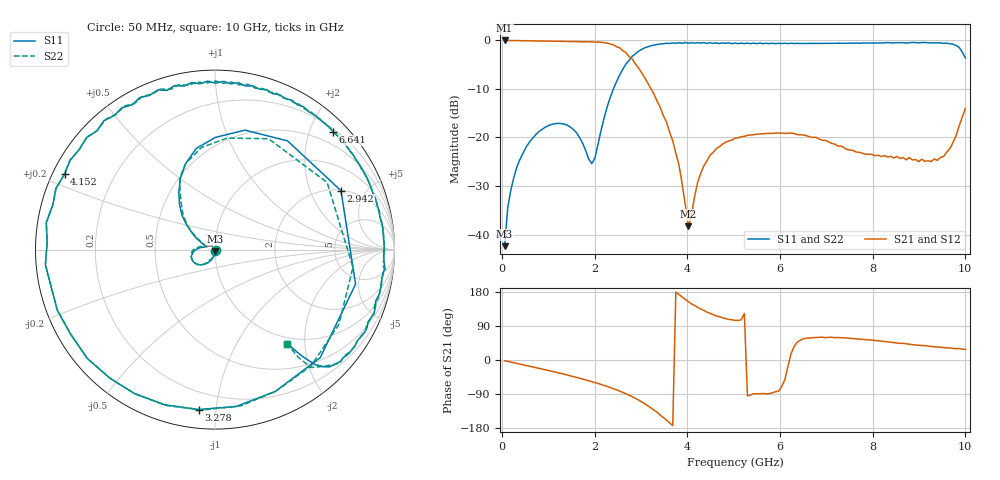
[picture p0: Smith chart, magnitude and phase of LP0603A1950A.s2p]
!	AVX THIN FILM OPERATION
!	LP0603 LOW PASS FILTERS
!	P/N LP0603A1950ALTR
!	Network	Analyzer	HP8720ES.07.64:	Feb	"23,"	2000	Serial	No.	US39172382
!	Hewlett-Packard
!	2	Feb	2004	02:33:11
!	Frequency	S11	S21	S12	S22
#	HZ	S	DB	R	50
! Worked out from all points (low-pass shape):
!   149 points, 50 MHz to 10 GHz, reference 50 ohm
!   highest |S21| = 0.00 dB at 50 MHz (marker M1); lowest = -38.3 dB at 4.018 GHz (marker M2)
!   |S21| within 3 dB of the highest: start of sweep to 2.712 GHz
!   lowest |S11| = -42.4 dB at 50 MHz (marker M3), VSWR 1.02, Z = 50.1 - j0.752 ohm
!   |S11| at or under -10 dB: start of sweep to 2.4 GHz
!   |S22| runs from -42.4 to -0.4 dB; largest |S21 - S12| = 0.025
!   S11 on the Smith chart (normalised r, x): 50 MHz: 1.00, -0.02; 2.942 GHz: 2.03, +3.34; 3.278 GHz: 0.10, -0.90; 4.152 GHz: 0.03, +0.24; 6.641 GHz: 0.25, +2.40; 10 GHz: 0.89, -1.66
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5e7  -42.40 -81.6  0.00 -1.9  0.00 -1.9  -42.40 -7.0
1.845e8  -30.82 -97.9  -0.02 -5.6  -0.02 -5.3  -30.82 -105.6
5.88e8  -20.92 -121.0  -0.06 -16.3  -0.06 -16.4  -20.92 -123.1
1.73125e9  -21.09 174.1  -0.26 -50.0  -0.26 -49.8  -21.09 169.7
2.00025e9  -24.24 157.5  -0.31 -59.5  -0.31 -60.1  -24.24 156.3
2.53825e9  -7.08 115.8  -1.53 -82.2  -1.53 -83.6  -7.08 116.4
2.80725e9  -3.27 75.9  -3.83 -97.0  -3.83 -97.6  -3.27 64.1
2.94175e9  -2.22 25.1  -5.66 -105.5  -5.66 -106.0  -2.22 -7.3
3.07625e9  -1.51 -45.8  -7.65 -115.3  -7.65 -115.6  -1.51 -50.4
3.278e9  -0.96 -95.9  -11.11 -132.3  -11.11 -132.9  -0.96 -94.3
3.4125e9  -0.73 -119.4  -13.84 -145.6  -13.84 -145.9  -0.73 -118.8
3.6815e9  -0.53 -158.8  -20.68 -173.1  -20.68 -178.8  -0.53 -159.3
4.01775e9  -0.56 164.3  -38.32 154.3  -38.32 148.7  -0.56 164.7
4.15225e9  -0.56 153.3  -32.27 144.1  -32.27 147.3  -0.56 153.9
4.4885e9  -0.47 130.8  -23.64 123.1  -23.64 123.3  -0.47 130.0
5.0265e9  -0.53 103.8  -20.16 104.6  -20.16 105.1  -0.53 102.5
5.699e9  -0.57 77.0  -19.18 -89.4  -19.18 -86.6  -0.57 73.5
6.6405e9  -0.64 44.9  -19.85 57.8  -19.85 56.1  -0.64 41.5
6.70775e9  -0.61 42.6  -20.00 59.0  -20.00 61.3  -0.61 39.0
8.389e9  -0.50 -8.1  -23.88 46.9  -23.88 45.2  -0.50 -9.4
9.53225e9  -0.59 -40.2  -23.93 32.7  -23.93 32.3  -0.59 -39.0
1.0003e10  -3.61 -52.5  -14.04 27.9  -14.04 26.0  -3.61 -52.5
